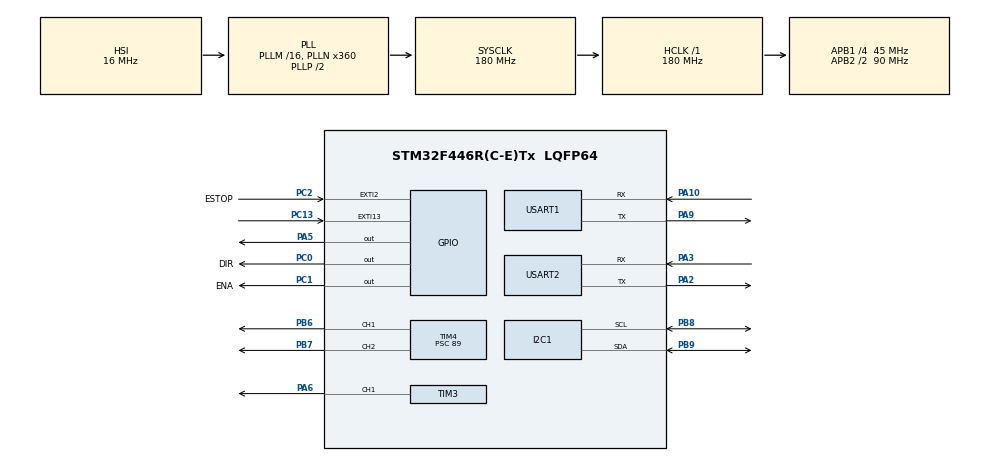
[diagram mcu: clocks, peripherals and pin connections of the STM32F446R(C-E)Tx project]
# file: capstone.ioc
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Dma.Request0=USART1_RX
Dma.Request1=USART1_TX
Dma.Request2=USART2_RX
Dma.Request3=USART2_TX
Dma.USART1_RX.0.Direction=DMA_PERIPH_TO_MEMORY
Dma.USART1_RX.0.FIFOMode=DMA_FIFOMODE_DISABLE
Dma.USART1_RX.0.Instance=DMA2_Stream2
Dma.USART1_RX.0.MemDataAlignment=DMA_MDATAALIGN_BYTE
Dma.USART1_RX.0.MemInc=DMA_MINC_ENABLE
Dma.USART1_RX.0.Mode=DMA_NORMAL
Dma.USART1_RX.0.PeriphDataAlignment=DMA_PDATAALIGN_BYTE
Dma.USART1_RX.0.PeriphInc=DMA_PINC_DISABLE
Dma.USART1_RX.0.Priority=DMA_PRIORITY_HIGH
Dma.USART1_TX.1.Direction=DMA_MEMORY_TO_PERIPH
Dma.USART1_TX.1.FIFOMode=DMA_FIFOMODE_DISABLE
Dma.USART1_TX.1.Instance=DMA2_Stream7
Dma.USART1_TX.1.MemDataAlignment=DMA_MDATAALIGN_BYTE
Dma.USART1_TX.1.MemInc=DMA_MINC_ENABLE
Dma.USART1_TX.1.Mode=DMA_NORMAL
Dma.USART1_TX.1.PeriphDataAlignment=DMA_PDATAALIGN_BYTE
Dma.USART1_TX.1.PeriphInc=DMA_PINC_DISABLE
Dma.USART1_TX.1.Priority=DMA_PRIORITY_MEDIUM
Dma.USART2_RX.2.Direction=DMA_PERIPH_TO_MEMORY
Dma.USART2_RX.2.FIFOMode=DMA_FIFOMODE_DISABLE
Dma.USART2_RX.2.Instance=DMA1_Stream5
Dma.USART2_RX.2.MemDataAlignment=DMA_MDATAALIGN_BYTE
Dma.USART2_RX.2.MemInc=DMA_MINC_ENABLE
Dma.USART2_RX.2.Mode=DMA_NORMAL
Dma.USART2_RX.2.PeriphDataAlignment=DMA_PDATAALIGN_BYTE
Dma.USART2_RX.2.PeriphInc=DMA_PINC_DISABLE
Dma.USART2_RX.2.Priority=DMA_PRIORITY_LOW
Dma.USART2_TX.3.Direction=DMA_MEMORY_TO_PERIPH
Dma.USART2_TX.3.FIFOMode=DMA_FIFOMODE_DISABLE
Dma.USART2_TX.3.Instance=DMA1_Stream6
Dma.USART2_TX.3.MemDataAlignment=DMA_MDATAALIGN_BYTE
Dma.USART2_TX.3.MemInc=DMA_MINC_ENABLE
Dma.USART2_TX.3.Mode=DMA_NORMAL
Dma.USART2_TX.3.PeriphDataAlignment=DMA_PDATAALIGN_BYTE
Dma.USART2_TX.3.PeriphInc=DMA_PINC_DISABLE
Dma.USART2_TX.3.Priority=DMA_PRIORITY_LOW
FREERTOS.Tasks01=DefaultTask,8,128,StartDefaultTask,Default,NULL,Dynamic,NULL,NULL
Mcu.Family=STM32F4
Mcu.Name=STM32F446R(C-E)Tx
Mcu.Package=LQFP64
NUCLEO-F446RE.BUTTON=1
NUCLEO-F446RE.LD1=true
NVIC.DMA1_Stream5_IRQn=true\:5\:0\:false\:false\:true\:true\:false\:true\:true
NVIC.DMA1_Stream6_IRQn=true\:5\:0\:false\:false\:true\:true\:false\:true\:true
NVIC.DMA2_Stream2_IRQn=true\:5\:0\:false\:false\:true\:true\:false\:true\:true
NVIC.DMA2_Stream7_IRQn=true\:5\:0\:false\:false\:true\:true\:false\:true\:true
NVIC.EXTI15_10_IRQn=true\:5\:0\:false\:false\:true\:true\:false\:true\:true
NVIC.EXTI2_IRQn=true\:5\:0\:false\:false\:true\:true\:true\:true\:true
NVIC.PriorityGroup=NVIC_PRIORITYGROUP_4
NVIC.TIM3_IRQn=true\:6\:0\:true\:false\:true\:true\:true\:true\:true
NVIC.TIM6_DAC_IRQn=true\:15\:0\:false\:false\:true\:false\:false\:true\:true
NVIC.TimeBase=TIM6_DAC_IRQn
NVIC.TimeBaseIP=TIM6
NVIC.USART1_IRQn=true\:5\:0\:true\:false\:true\:true\:true\:true\:true
NVIC.USART2_IRQn=true\:5\:0\:false\:false\:true\:true\:true\:true\:true
PA10.Mode=Asynchronous
PA10.Signal=USART1_RX
PA13.GPIO_Label=TMS
PA13.Mode=Serial_Wire
PA13.Signal=SYS_JTMS-SWDIO
PA14.GPIO_Label=TCK
PA14.Mode=Serial_Wire
PA14.Signal=SYS_JTCK-SWCLK
PA2.Mode=Asynchronous
PA2.Signal=USART2_TX
PA3.Mode=Asynchronous
PA3.Signal=USART2_RX
PA5.Signal=GPIO_Output
PA6.Signal=S_TIM3_CH1
PA9.Mode=Asynchronous
PA9.Signal=USART1_TX
PB6.Signal=S_TIM4_CH1
PB7.Signal=S_TIM4_CH2
PB8.Mode=I2C
PB8.Signal=I2C1_SCL
PB9.Mode=I2C
PB9.Signal=I2C1_SDA
PC0.GPIO_Label=DIR
PC0.Signal=GPIO_Output
PC1.GPIO_Label=ENA
PC1.PinState=GPIO_PIN_SET
PC1.Signal=GPIO_Output
PC13.Signal=GPXTI13
PC14-OSC32_IN.Signal=RCC_OSC32_IN
PC15-OSC32_OUT.Signal=RCC_OSC32_OUT
PC2.GPIO_Label=ESTOP
PC2.Signal=GPXTI2
PH0-OSC_IN.Mode=HSE-External-Clock-Source
PH0-OSC_IN.Signal=RCC_OSC_IN
PH1-OSC_OUT.Mode=HSE-External-Clock-Source
PH1-OSC_OUT.Signal=RCC_OSC_OUT
ProjectManager.HeapSize=0x200
ProjectManager.StackSize=0x400
ProjectManager.TargetToolchain=STM32CubeIDE
RCC.AHBFreq_Value=180000000
RCC.APB1CLKDivider=RCC_HCLK_DIV4
RCC.APB1Freq_Value=45000000
RCC.APB1TimFreq_Value=90000000
RCC.APB2CLKDivider=RCC_HCLK_DIV2
RCC.APB2Freq_Value=90000000
RCC.APB2TimFreq_Value=180000000
RCC.CortexFreq_Value=180000000
RCC.FLatency-AdvancedSettings=FLASH_LATENCY_5
RCC.HCLKFreq_Value=180000000
RCC.HSE_VALUE=8000000
RCC.HSI_VALUE=16000000
RCC.LSE_VALUE=32768
RCC.PLLN=360
RCC.SYSCLKFreq_VALUE=180000000
RCC.SYSCLKSource=RCC_SYSCLKSOURCE_PLLCLK
RCC.USBFreq_Value=180000000
RCC.VCOOutputFreq_Value=360000000
SH.S_TIM3_CH1.0=TIM3_CH1,PWM Generation1 CH1
SH.S_TIM4_CH1.0=TIM4_CH1,PWM Generation1 CH1
SH.S_TIM4_CH2.0=TIM4_CH2,PWM Generation2 CH2
TIM3.Channel-PWM\ Generation1\ CH1=TIM_CHANNEL_1
TIM3.Period=999
TIM3.Prescaler=89
TIM4.Channel-PWM\ Generation1\ CH1=TIM_CHANNEL_1
TIM4.Channel-PWM\ Generation2\ CH2=TIM_CHANNEL_2
TIM4.Period=19999
TIM4.Prescaler=89
TIM4.Pulse-PWM\ Generation1\ CH1=1500
TIM4.Pulse-PWM\ Generation2\ CH2=1500
USART1.VirtualMode=VM_ASYNC
USART2.VirtualMode=VM_ASYNC
VP_FREERTOS_VS_CMSIS_V2.Mode=CMSIS_V2
VP_NUCLEO-F446RE_VS_BSP_COMMON.Mode=COMMON
VP_SYS_VS_tim6.Mode=TIM6
board=NUCLEO-F446RE

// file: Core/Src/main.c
/* USER CODE BEGIN Header */
/**
  ******************************************************************************
  * @file           : main.c
  * @brief          : Main program body
  ******************************************************************************
  * @attention
  *
  * Copyright (c) 2026 STMicroelectronics.
  * All rights reserved.
  *
  * This software is licensed under terms that can be found in the LICENSE file
  * in the root directory of this software component.
  * If no LICENSE file comes with this software, it is provided AS-IS.
  *
  ******************************************************************************
  */
/* USER CODE END Header */
#include "main.h"
#include "cmsis_os.h"
#include "dma.h"
#include "i2c.h"
#include "tim.h"
#include "usart.h"
#include "gpio.h"

/* USER CODE BEGIN Includes */
#include "uart_dma.h"
/* USER CODE END Includes */

void SystemClock_Config(void);
void MX_FREERTOS_Init(void);

int main(void)
{

  /* MCU Configuration--------------------------------------------------------*/

  /* Reset of all peripherals, Initializes the Flash interface and the Systick. */
  HAL_Init();

  /* Configure the system clock */
  SystemClock_Config();

  /* Initialize all configured peripherals */
  MX_GPIO_Init();
  MX_DMA_Init();
  MX_USART1_UART_Init();
  MX_USART2_UART_Init();
  MX_TIM3_Init();
  MX_I2C1_Init();
  MX_TIM4_Init();

  /* Init scheduler */
  osKernelInitialize();  /* Call init function for freertos objects (in cmsis_os2.c) */
  MX_FREERTOS_Init();

  /* Initialize leds */
  BSP_LED_Init(LED2);

  /* Initialize USER push-button, will be used to trigger an interrupt each time it's pressed.*/
  BSP_PB_Init(BUTTON_USER, BUTTON_MODE_EXTI);

  /* Start scheduler */
  osKernelStart();

  /* We should never get here as control is now taken by the scheduler */

  /* Infinite loop */
  while (1)
  {

  }
}

void SystemClock_Config(void)
{
  RCC_OscInitTypeDef RCC_OscInitStruct = {0};
  RCC_ClkInitTypeDef RCC_ClkInitStruct = {0};

  /** Configure the main internal regulator output voltage
  */
  __HAL_RCC_PWR_CLK_ENABLE();
  __HAL_PWR_VOLTAGESCALING_CONFIG(PWR_REGULATOR_VOLTAGE_SCALE1);

  /** Initializes the RCC Oscillators according to the specified parameters
  * in the RCC_OscInitTypeDef structure.
  */
  RCC_OscInitStruct.OscillatorType = RCC_OSCILLATORTYPE_HSI;
  RCC_OscInitStruct.HSIState = RCC_HSI_ON;
  RCC_OscInitStruct.HSICalibrationValue = RCC_HSICALIBRATION_DEFAULT;
  RCC_OscInitStruct.PLL.PLLState = RCC_PLL_ON;
  RCC_OscInitStruct.PLL.PLLSource = RCC_PLLSOURCE_HSI;
  RCC_OscInitStruct.PLL.PLLM = 16;
  RCC_OscInitStruct.PLL.PLLN = 360;
  RCC_OscInitStruct.PLL.PLLP = RCC_PLLP_DIV2;
  RCC_OscInitStruct.PLL.PLLQ = 2;
  RCC_OscInitStruct.PLL.PLLR = 2;
  if (HAL_RCC_OscConfig(&RCC_OscInitStruct) != HAL_OK)
  {
    Error_Handler();
  }

  /** Activate the Over-Drive mode
  */
  if (HAL_PWREx_EnableOverDrive() != HAL_OK)
  {
    Error_Handler();
  }

  /** Initializes the CPU, AHB and APB buses clocks
  */
  RCC_ClkInitStruct.ClockType = RCC_CLOCKTYPE_HCLK|RCC_CLOCKTYPE_SYSCLK
                              |RCC_CLOCKTYPE_PCLK1|RCC_CLOCKTYPE_PCLK2;
  RCC_ClkInitStruct.SYSCLKSource = RCC_SYSCLKSOURCE_PLLCLK;
  RCC_ClkInitStruct.AHBCLKDivider = RCC_SYSCLK_DIV1;
  RCC_ClkInitStruct.APB1CLKDivider = RCC_HCLK_DIV4;
  RCC_ClkInitStruct.APB2CLKDivider = RCC_HCLK_DIV2;

  if (HAL_RCC_ClockConfig(&RCC_ClkInitStruct, FLASH_LATENCY_5) != HAL_OK)
  {
    Error_Handler();
  }
}

void HAL_TIM_PeriodElapsedCallback(TIM_HandleTypeDef *htim)
{
  if (htim->Instance == TIM6)
  {
    HAL_IncTick();
  }
}

void Error_Handler(void)
{
  __disable_irq();
  while (1)
  {
  }
}

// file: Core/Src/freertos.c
/* USER CODE BEGIN Header */
/**
  ******************************************************************************
  * File Name          : freertos.c
  * Description        : Code for freertos applications
  ******************************************************************************
  * @attention
  *
  * Copyright (c) 2026 STMicroelectronics.
  * All rights reserved.
  *
  * This software is licensed under terms that can be found in the LICENSE file
  * in the root directory of this software component.
  * If no LICENSE file comes with this software, it is provided AS-IS.
  *
  ******************************************************************************
  */
/* USER CODE END Header */

#include "FreeRTOS.h"
#include "task.h"
#include "main.h"
#include "cmsis_os.h"

/* USER CODE BEGIN Includes */
#include "communicationTask.h"
#include "motorCommand.h"
#include "motorTask.h"
#include "encoderTask.h"
#include "uart_dma.h"
/* USER CODE END Includes */

/* USER CODE BEGIN Variables */
osThreadId_t commuicationTaskHandle;

const osThreadAttr_t communicationTask_attributes =
{
		.name = "communicationTask",
		.stack_size = 256U * 4U,
		.priority = (osPriority_t)osPriorityNormal,
};

osThreadId_t motorTaskHandle;

const osThreadAttr_t motorTask_attributes =
{
    .name = "motorTask",
    .stack_size = 256U * 4U,
    .priority = (osPriority_t)osPriorityAboveNormal,
};

osThreadId_t encoderTaskHandle;

const osThreadAttr_t encoderTask_attributes =
{
		.name = "encoderTask",
		.stack_size = 256U *4U,
		.priority = (osPriority_t)osPriorityNormal,
};

osMessageQueueId_t motorCommandQueueHandle;

const osMessageQueueAttr_t motorCommandQueue_attributes =
{
    .name = "motorCommandQueue"
};

osMessageQueueId_t motorStatusQueueHandle;

const osMessageQueueAttr_t motorStatusQueue_attributes =
{
		.name = "motorStatusQueue"
};

osMessageQueueId_t uartRxQueueHandle;

const osMessageQueueAttr_t uartRxQueue_attributes =
{
		.name = "uartRxQueue"
};

osMessageQueueId_t uartTxQueueHandle;

const osMessageQueueAttr_t uartTxQueue_attributes =
{
		.name = "uartTxQueue"
};
/* USER CODE END Variables */
/* Definitions for DefaultTask */
osThreadId_t DefaultTaskHandle;
const osThreadAttr_t DefaultTask_attributes = {
  .name = "DefaultTask",
  .stack_size = 128 * 4,
  .priority = (osPriority_t) osPriorityLow,
};

void StartDefaultTask(void *argument);

void MX_FREERTOS_Init(void); /* (MISRA C 2004 rule 8.1) */

void MX_FREERTOS_Init(void) {

  /* USER CODE BEGIN RTOS_QUEUES */
	motorCommandQueueHandle = osMessageQueueNew(5U, sizeof(MotorCommand_t), &motorCommandQueue_attributes);

	if(motorCommandQueueHandle == NULL){
		Error_Handler();
	}

	motorStatusQueueHandle = osMessageQueueNew(4U, sizeof(MotorStatusMessage_t), &motorStatusQueue_attributes);
	if(motorStatusQueueHandle == NULL){
		Error_Handler();
	}

	uartRxQueueHandle = osMessageQueueNew(8U, sizeof(UartDmaRxChunk_t), &uartRxQueue_attributes);
	if(uartRxQueueHandle == NULL){
		Error_Handler();
	}
	uartTxQueueHandle = osMessageQueueNew(8U, sizeof(UartDmaTxFrame_t), &uartTxQueue_attributes);
	if(uartTxQueueHandle == NULL){
		Error_Handler();
	}
  /* USER CODE END RTOS_QUEUES */

  /* Create the thread(s) */
  /* creation of DefaultTask */
  DefaultTaskHandle = osThreadNew(StartDefaultTask, NULL, &DefaultTask_attributes);

  /* USER CODE BEGIN RTOS_THREADS */
  /* add threads, ... */
  commuicationTaskHandle = osThreadNew(StartCommunicationTask, NULL, &communicationTask_attributes);
  if(commuicationTaskHandle == NULL){
	  Error_Handler();
  }
  motorTaskHandle = osThreadNew(StartMotorTask, NULL, &motorTask_attributes);
  if (motorTaskHandle == NULL){
      Error_Handler();
  }

  encoderTaskHandle = osThreadNew(StartEncoderTask, NULL, &encoderTask_attributes);
  if(encoderTaskHandle == NULL){
	  Error_Handler();
  }
  /* USER CODE END RTOS_THREADS */

}

void StartDefaultTask(void *argument)
{
  /* USER CODE BEGIN StartDefaultTask */
  for(;;)
  {
    osDelay(1000);
  }
  /* USER CODE END StartDefaultTask */
}
